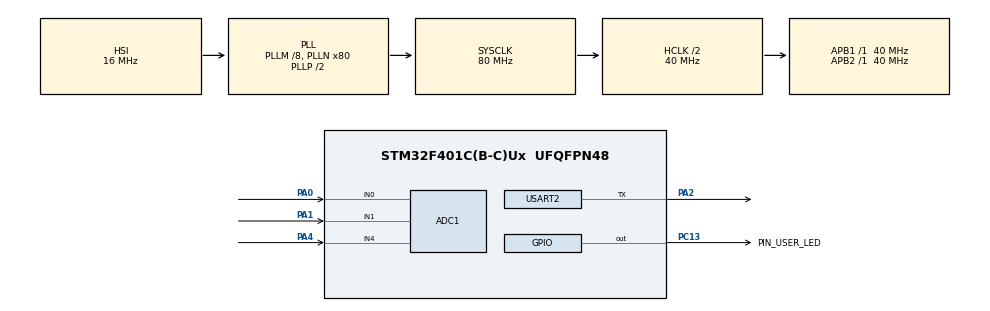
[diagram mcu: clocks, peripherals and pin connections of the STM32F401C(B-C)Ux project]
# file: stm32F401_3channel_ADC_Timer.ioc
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ADC1.Channel-0\#ChannelRegularConversion=ADC_CHANNEL_0
ADC1.Channel-1\#ChannelRegularConversion=ADC_CHANNEL_1
ADC1.Channel-2\#ChannelRegularConversion=ADC_CHANNEL_4
ADC1.Channel-3\#ChannelRegularConversion=ADC_CHANNEL_TEMPSENSOR
ADC1.Channel-4\#ChannelInjectedConversion=ADC_CHANNEL_0
ADC1.ClockPrescaler=ADC_CLOCK_SYNC_PCLK_DIV2
ADC1.ContinuousConvMode=DISABLE
ADC1.DMAContinuousRequests=DISABLE
ADC1.EOCSelection=ADC_EOC_SEQ_CONV
ADC1.ExternalTrigConv=ADC_EXTERNALTRIGCONV_T2_TRGO
ADC1.ExternalTrigConvEdge=ADC_EXTERNALTRIGCONVEDGE_RISING
ADC1.ExternalTrigInjecConv=ADC_EXTERNALTRIGINJECCONV_T2_TRGO
ADC1.InjNumberOfConversion=1
ADC1.InjectedConvMode=Discontinuous
ADC1.InjectedOffset-4\#ChannelInjectedConversion=0
ADC1.InjectedRank-4\#ChannelInjectedConversion=1
ADC1.NbrOfConversion=4
ADC1.NbrOfConversionFlag=1
ADC1.Rank-0\#ChannelRegularConversion=1
ADC1.Rank-1\#ChannelRegularConversion=2
ADC1.Rank-2\#ChannelRegularConversion=3
ADC1.Rank-3\#ChannelRegularConversion=4
ADC1.SamplingTime-0\#ChannelRegularConversion=ADC_SAMPLETIME_56CYCLES
ADC1.SamplingTime-1\#ChannelRegularConversion=ADC_SAMPLETIME_56CYCLES
ADC1.SamplingTime-2\#ChannelRegularConversion=ADC_SAMPLETIME_56CYCLES
ADC1.SamplingTime-3\#ChannelRegularConversion=ADC_SAMPLETIME_112CYCLES
ADC1.SamplingTime-4\#ChannelInjectedConversion=ADC_SAMPLETIME_144CYCLES
ADC1.master=1
Dma.ADC1.0.Direction=DMA_PERIPH_TO_MEMORY
Dma.ADC1.0.FIFOMode=DMA_FIFOMODE_DISABLE
Dma.ADC1.0.Instance=DMA2_Stream0
Dma.ADC1.0.MemDataAlignment=DMA_MDATAALIGN_HALFWORD
Dma.ADC1.0.MemInc=DMA_MINC_ENABLE
Dma.ADC1.0.Mode=DMA_NORMAL
Dma.ADC1.0.PeriphDataAlignment=DMA_PDATAALIGN_HALFWORD
Dma.ADC1.0.PeriphInc=DMA_PINC_DISABLE
Dma.ADC1.0.Priority=DMA_PRIORITY_LOW
Dma.Request0=ADC1
Mcu.Family=STM32F4
Mcu.Name=STM32F401C(B-C)Ux
Mcu.Package=UFQFPN48
NVIC.ADC_IRQn=true\:0\:0\:false\:false\:true\:true\:true\:true
NVIC.DMA2_Stream0_IRQn=true\:0\:0\:false\:false\:true\:false\:true\:true
NVIC.PriorityGroup=NVIC_PRIORITYGROUP_4
NVIC.TIM2_IRQn=true\:0\:0\:false\:false\:true\:true\:true\:true
PA0-WKUP.Signal=ADCx_IN0
PA1.Signal=ADCx_IN1
PA13.Mode=Serial_Wire
PA13.Signal=SYS_JTMS-SWDIO
PA14.Mode=Serial_Wire
PA14.Signal=SYS_JTCK-SWCLK
PA2.Mode=Half_duplex(single_wire_mode)
PA2.Signal=USART2_TX
PA4.Signal=ADCx_IN4
PC13-ANTI_TAMP.GPIO_Label=PIN_USER_LED
PC13-ANTI_TAMP.Signal=GPIO_Output
ProjectManager.HeapSize=0x200
ProjectManager.StackSize=0x400
ProjectManager.TargetToolchain=STM32CubeIDE
RCC.48MHZClocksFreq_Value=40000000
RCC.AHBCLKDivider=RCC_SYSCLK_DIV2
RCC.AHBFreq_Value=40000000
RCC.APB1Freq_Value=40000000
RCC.APB1TimFreq_Value=40000000
RCC.APB2Freq_Value=40000000
RCC.APB2TimFreq_Value=40000000
RCC.CortexFreq_Value=40000000
RCC.HCLKFreq_Value=40000000
RCC.HSE_VALUE=25000000
RCC.HSI_VALUE=16000000
RCC.LSE_VALUE=32768
RCC.PLLM=8
RCC.PLLN=80
RCC.SYSCLKFreq_VALUE=80000000
RCC.SYSCLKSource=RCC_SYSCLKSOURCE_PLLCLK
RCC.VCOOutputFreq_Value=160000000
SH.ADCx_IN0.0=ADC1_IN0,IN0
SH.ADCx_IN1.0=ADC1_IN1,IN1
SH.ADCx_IN4.0=ADC1_IN4,IN4
TIM2.AutoReloadPreload=TIM_AUTORELOAD_PRELOAD_DISABLE
TIM2.Channel-PWM\ Generation1\ No\ Output=TIM_CHANNEL_1
TIM2.Period=2999
TIM2.Prescaler=39999
TIM2.TIM_MasterOutputTrigger=TIM_TRGO_UPDATE
TIM2.TIM_MasterSlaveMode=TIM_MASTERSLAVEMODE_DISABLE
USART2.Mode=MODE_TX
USART2.Parity=PARITY_EVEN
USART2.VirtualMode=VM_ASYNC
VP_ADC1_TempSens_Input.Mode=IN-TempSens
VP_TIM2_VS_ClockSourceINT.Mode=Internal
VP_TIM2_VS_no_output1.Mode=PWM Generation1 No Output
board=custom

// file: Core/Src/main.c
/* USER CODE BEGIN Header */
/**
 ******************************************************************************
 * @file           : main.c
 * @brief          : Main program body
 ******************************************************************************
 * @attention
 *
 * Copyright (c) 2022 STMicroelectronics.
 * All rights reserved.
 *
 * This software is licensed under terms that can be found in the LICENSE file
 * in the root directory of this software component.
 * If no LICENSE file comes with this software, it is provided AS-IS.
 *
 ******************************************************************************
 */
/* USER CODE END Header */
#include "main.h"

/* USER CODE BEGIN Includes */
#include <stdio.h>
#include <string.h>
/* USER CODE END Includes */

ADC_HandleTypeDef hadc1;
DMA_HandleTypeDef hdma_adc1;

TIM_HandleTypeDef htim2;

UART_HandleTypeDef huart2;

void SystemClock_Config(void);
static void MX_GPIO_Init(void);
static void MX_DMA_Init(void);
static void MX_ADC1_Init(void);
static void MX_USART2_UART_Init(void);
static void MX_TIM2_Init(void);

/* USER CODE BEGIN 0 */
#ifdef __GNUC__
/* With GCC, small printf (option LD Linker->Libraries->Small printf
 set to 'Yes') calls __io_putchar() */
#define PUTCHAR_PROTOTYPE int __io_putchar(int ch)
#else
#define PUTCHAR_PROTOTYPE int fputc(int ch, FILE *f)
#endif /* __GNUC__ */

//must have this to print in uart com port
PUTCHAR_PROTOTYPE {
	// Place your implementation of fputc here
	// e.g. write a character to the EVAL_COM1 and Loop until the end of transmission
	HAL_UART_Transmit(&huart2, (uint8_t*) &ch, 1, 0xFFFF);

	return ch;
}

#define ADC_BUF_LEN 4
uint16_t adc_buf[ADC_BUF_LEN];

float adc_val_to_voltage(uint16_t adc_val) {
	float ADC_MAX = 4096.0;
	float Vref = 3.3f;
	float adc_voltage = Vref * 1.0f * adc_val / ADC_MAX;
	return adc_voltage;

}

// Callback: timer has rolled over
void HAL_TIM_PeriodElapsedCallback(TIM_HandleTypeDef *htim) {
	printf("zzz");
	HAL_GPIO_TogglePin(PIN_USER_LED_GPIO_Port, PIN_USER_LED_Pin);

	// Check which version of the timer triggered this callback and toggle LED
	if (htim == &htim2) {
		printf("tim2");

	} else {
		printf("other");
	}

}

/*
 void HAL_TIM_PeriodElapsedCallback(TIM_HandleTypeDef *htim) {
 static GPIO_PinState led_val = 0;

 HAL_GPIO_WritePin(PIN_USER_LED_GPIO_Port, PIN_USER_LED_Pin, led_val);
 led_val = !led_val;

 }
 */

float adc_val_to_temp_sys(uint16_t adc_val) {

	float Vref = 3300;
	int temp = __LL_ADC_CALC_TEMPERATURE(Vref, adc_val, LL_ADC_RESOLUTION_12B);
	return temp;

}

float adc_val_to_temp(uint16_t adc_val) {
	const float V25 = 0.76, AVG_Slope = 0.002f;

	float adc_vol = adc_val_to_voltage(adc_val);
	float temp = (adc_vol - V25) / AVG_Slope + 25;
	return temp;
}

void show_adc_buf() {

	uint16_t temp_adc_val = adc_buf[3];
	// float temp = adc_val_to_temp(temp_adc_val );
	float temp = adc_val_to_temp(temp_adc_val );
	printf(" adc value: %u %u %u  %u  , temp: %.1f\n\r", adc_buf[0], adc_buf[1],
			adc_buf[2], adc_buf[3], temp);
	HAL_GPIO_WritePin(PIN_USER_LED_GPIO_Port, PIN_USER_LED_Pin, GPIO_PIN_SET);

}

void HAL_ADC_ConvCpltCallback(ADC_HandleTypeDef *hadc) {
	HAL_GPIO_WritePin(GPIOC, PIN_USER_LED_Pin, GPIO_PIN_RESET);
	//printf("HAL_ADC_ConvCpltCallback ");

	uint32_t adc_val = HAL_ADC_GetValue(&hadc1);
	printf("HAL_ADC_ConvCpltCallback %u\n\r", adc_val);
	HAL_GPIO_WritePin(GPIOC, PIN_USER_LED_Pin, GPIO_PIN_SET);

	//show_adc_buf();
	//if (HAL_ADC_Stop_DMA(&hadc1) != HAL_OK) {
//	 Error_Handler();
//	 }

   /* if ( HAL_OK!=HAL_ADC_Stop_DMA(hadc) )
    {
    	Error_Handler();
    }
	//UNUSED(hadc);
*/
	//HAL_GPIO_TogglePin(PIN_USER_LED_GPIO_Port, PIN_USER_LED_Pin);
	//show_adc_buf();
	//printf("aa");

	//HAL_GPIO_WritePin(PIN_USER_LED_GPIO_Port, PIN_USER_LED_Pin, led_val);

}

void HAL_ADC_ConvHalfCpltCallback(ADC_HandleTypeDef *hadc) {
	//HAL_GPIO_WritePin(GPIOC, PIN_USER_LED_Pin, GPIO_PIN_RESET);
	//printf("HAL_ADC_ConvHalfCpltCallback adc PA  read  %hu\r\n",  adc_buf[0]);

}

/* USER CODE END 0 */

int main(void)
{
  /* USER CODE BEGIN 1 */
	memset(adc_buf, 0, ADC_BUF_LEN*sizeof(adc_buf[0]));

  /* USER CODE END 1 */

  /* MCU Configuration--------------------------------------------------------*/

  /* Reset of all peripherals, Initializes the Flash interface and the Systick. */
  HAL_Init();

  /* Configure the system clock */
  SystemClock_Config();

  /* Initialize all configured peripherals */
  MX_GPIO_Init();
  MX_DMA_Init();
  MX_ADC1_Init();
  MX_USART2_UART_Init();
  MX_TIM2_Init();

  /* Infinite loop */
  /* USER CODE BEGIN WHILE */

   // HAL_ADCEx_Calibration_Start(&hadc1);

	/*// must call this if timer calls ADC/DMA
	if ( HAL_OK != HAL_ADC_Start_DMA(&hadc1, (uint32_t*)adc_buf, ADC_BUF_LEN))
	{
		Error_Handler();
	}
*/

    // for adc call back to work
    HAL_ADC_Start_IT(&hadc1);

	if (HAL_TIM_Base_Start(&htim2) != HAL_OK) {
		Error_Handler();
	};

	//HAL_ADCEx_Calibration_Start (&hadc1) ;

	printf("about to while(1)\r\n");
	HAL_GPIO_WritePin(GPIOC, PIN_USER_LED_Pin, GPIO_PIN_SET);

	while (1) {
		int timer_val = __HAL_TIM_GET_COUNTER(&htim2);
		printf("timer is %u\n\r", timer_val);

		// can also use USB as virtual com port to print: CDC_Transmit_FS((uint8_t *) "Hello World CDC !\n", 13); //We add this line for serial comm
		//HAL_GPIO_WritePin(PIN_USER_LED_GPIO_Port, PIN_USER_LED_Pin, GPIO_PIN_RESET);
		//HAL_GPIO_TogglePin(PIN_USER_LED_GPIO_Port, PIN_USER_LED_Pin);

		//HAL_Delay(300);

		// HAL_GPIO_WritePin(PIN_USER_LED_GPIO_Port, PIN_USER_LED_Pin, GPIO_PIN_SET);

		HAL_Delay(1000);

    /* USER CODE END WHILE */

	}
}

void SystemClock_Config(void)
{
  RCC_OscInitTypeDef RCC_OscInitStruct = {0};
  RCC_ClkInitTypeDef RCC_ClkInitStruct = {0};

  /** Configure the main internal regulator output voltage
  */
  __HAL_RCC_PWR_CLK_ENABLE();
  __HAL_PWR_VOLTAGESCALING_CONFIG(PWR_REGULATOR_VOLTAGE_SCALE2);

  /** Initializes the RCC Oscillators according to the specified parameters
  * in the RCC_OscInitTypeDef structure.
  */
  RCC_OscInitStruct.OscillatorType = RCC_OSCILLATORTYPE_HSI;
  RCC_OscInitStruct.HSIState = RCC_HSI_ON;
  RCC_OscInitStruct.HSICalibrationValue = RCC_HSICALIBRATION_DEFAULT;
  RCC_OscInitStruct.PLL.PLLState = RCC_PLL_ON;
  RCC_OscInitStruct.PLL.PLLSource = RCC_PLLSOURCE_HSI;
  RCC_OscInitStruct.PLL.PLLM = 8;
  RCC_OscInitStruct.PLL.PLLN = 80;
  RCC_OscInitStruct.PLL.PLLP = RCC_PLLP_DIV2;
  RCC_OscInitStruct.PLL.PLLQ = 4;
  if (HAL_RCC_OscConfig(&RCC_OscInitStruct) != HAL_OK)
  {
    Error_Handler();
  }

  /** Initializes the CPU, AHB and APB buses clocks
  */
  RCC_ClkInitStruct.ClockType = RCC_CLOCKTYPE_HCLK|RCC_CLOCKTYPE_SYSCLK
                              |RCC_CLOCKTYPE_PCLK1|RCC_CLOCKTYPE_PCLK2;
  RCC_ClkInitStruct.SYSCLKSource = RCC_SYSCLKSOURCE_PLLCLK;
  RCC_ClkInitStruct.AHBCLKDivider = RCC_SYSCLK_DIV2;
  RCC_ClkInitStruct.APB1CLKDivider = RCC_HCLK_DIV1;
  RCC_ClkInitStruct.APB2CLKDivider = RCC_HCLK_DIV1;

  if (HAL_RCC_ClockConfig(&RCC_ClkInitStruct, FLASH_LATENCY_1) != HAL_OK)
  {
    Error_Handler();
  }
}

static void MX_ADC1_Init(void)
{

  ADC_ChannelConfTypeDef sConfig = {0};
  ADC_InjectionConfTypeDef sConfigInjected = {0};

  /** Configure the global features of the ADC (Clock, Resolution, Data Alignment and number of conversion)
  */
  hadc1.Instance = ADC1;
  hadc1.Init.ClockPrescaler = ADC_CLOCK_SYNC_PCLK_DIV2;
  hadc1.Init.Resolution = ADC_RESOLUTION_12B;
  hadc1.Init.ScanConvMode = ENABLE;
  hadc1.Init.ContinuousConvMode = DISABLE;
  hadc1.Init.DiscontinuousConvMode = DISABLE;
  hadc1.Init.ExternalTrigConvEdge = ADC_EXTERNALTRIGCONVEDGE_RISING;
  hadc1.Init.ExternalTrigConv = ADC_EXTERNALTRIGCONV_T2_TRGO;
  hadc1.Init.DataAlign = ADC_DATAALIGN_RIGHT;
  hadc1.Init.NbrOfConversion = 4;
  hadc1.Init.DMAContinuousRequests = DISABLE;
  hadc1.Init.EOCSelection = ADC_EOC_SEQ_CONV;
  if (HAL_ADC_Init(&hadc1) != HAL_OK)
  {
    Error_Handler();
  }

  /** Configure for the selected ADC regular channel its corresponding rank in the sequencer and its sample time.
  */
  sConfig.Channel = ADC_CHANNEL_0;
  sConfig.Rank = 1;
  sConfig.SamplingTime = ADC_SAMPLETIME_56CYCLES;
  if (HAL_ADC_ConfigChannel(&hadc1, &sConfig) != HAL_OK)
  {
    Error_Handler();
  }

  /** Configure for the selected ADC regular channel its corresponding rank in the sequencer and its sample time.
  */
  sConfig.Channel = ADC_CHANNEL_1;
  sConfig.Rank = 2;
  if (HAL_ADC_ConfigChannel(&hadc1, &sConfig) != HAL_OK)
  {
    Error_Handler();
  }

  /** Configure for the selected ADC regular channel its corresponding rank in the sequencer and its sample time.
  */
  sConfig.Channel = ADC_CHANNEL_4;
  sConfig.Rank = 3;
  if (HAL_ADC_ConfigChannel(&hadc1, &sConfig) != HAL_OK)
  {
    Error_Handler();
  }

  /** Configure for the selected ADC regular channel its corresponding rank in the sequencer and its sample time.
  */
  sConfig.Channel = ADC_CHANNEL_TEMPSENSOR;
  sConfig.Rank = 4;
  sConfig.SamplingTime = ADC_SAMPLETIME_112CYCLES;
  if (HAL_ADC_ConfigChannel(&hadc1, &sConfig) != HAL_OK)
  {
    Error_Handler();
  }

  /** Configures for the selected ADC injected channel its corresponding rank in the sequencer and its sample time
  */
  sConfigInjected.InjectedChannel = ADC_CHANNEL_0;
  sConfigInjected.InjectedRank = 1;
  sConfigInjected.InjectedNbrOfConversion = 1;
  sConfigInjected.InjectedSamplingTime = ADC_SAMPLETIME_144CYCLES;
  sConfigInjected.ExternalTrigInjecConvEdge = ADC_EXTERNALTRIGINJECCONVEDGE_RISING;
  sConfigInjected.ExternalTrigInjecConv = ADC_EXTERNALTRIGINJECCONV_T2_TRGO;
  sConfigInjected.AutoInjectedConv = DISABLE;
  sConfigInjected.InjectedDiscontinuousConvMode = ENABLE;
  sConfigInjected.InjectedOffset = 0;
  if (HAL_ADCEx_InjectedConfigChannel(&hadc1, &sConfigInjected) != HAL_OK)
  {
    Error_Handler();
  }

}

static void MX_TIM2_Init(void)
{

  TIM_ClockConfigTypeDef sClockSourceConfig = {0};
  TIM_MasterConfigTypeDef sMasterConfig = {0};
  TIM_OC_InitTypeDef sConfigOC = {0};

  htim2.Instance = TIM2;
  htim2.Init.Prescaler = 39999;
  htim2.Init.CounterMode = TIM_COUNTERMODE_UP;
  htim2.Init.Period = 2999;
  htim2.Init.ClockDivision = TIM_CLOCKDIVISION_DIV1;
  htim2.Init.AutoReloadPreload = TIM_AUTORELOAD_PRELOAD_DISABLE;
  if (HAL_TIM_Base_Init(&htim2) != HAL_OK)
  {
    Error_Handler();
  }
  sClockSourceConfig.ClockSource = TIM_CLOCKSOURCE_INTERNAL;
  if (HAL_TIM_ConfigClockSource(&htim2, &sClockSourceConfig) != HAL_OK)
  {
    Error_Handler();
  }
  if (HAL_TIM_PWM_Init(&htim2) != HAL_OK)
  {
    Error_Handler();
  }
  sMasterConfig.MasterOutputTrigger = TIM_TRGO_UPDATE;
  sMasterConfig.MasterSlaveMode = TIM_MASTERSLAVEMODE_DISABLE;
  if (HAL_TIMEx_MasterConfigSynchronization(&htim2, &sMasterConfig) != HAL_OK)
  {
    Error_Handler();
  }
  sConfigOC.OCMode = TIM_OCMODE_PWM1;
  sConfigOC.Pulse = 0;
  sConfigOC.OCPolarity = TIM_OCPOLARITY_HIGH;
  sConfigOC.OCFastMode = TIM_OCFAST_DISABLE;
  if (HAL_TIM_PWM_ConfigChannel(&htim2, &sConfigOC, TIM_CHANNEL_1) != HAL_OK)
  {
    Error_Handler();
  }

}

static void MX_USART2_UART_Init(void)
{

  huart2.Instance = USART2;
  huart2.Init.BaudRate = 115200;
  huart2.Init.WordLength = UART_WORDLENGTH_8B;
  huart2.Init.StopBits = UART_STOPBITS_1;
  huart2.Init.Parity = UART_PARITY_EVEN;
  huart2.Init.Mode = UART_MODE_TX;
  huart2.Init.HwFlowCtl = UART_HWCONTROL_NONE;
  huart2.Init.OverSampling = UART_OVERSAMPLING_16;
  if (HAL_HalfDuplex_Init(&huart2) != HAL_OK)
  {
    Error_Handler();
  }

}

static void MX_DMA_Init(void)
{

  /* DMA controller clock enable */
  __HAL_RCC_DMA2_CLK_ENABLE();

  /* DMA interrupt init */
  /* DMA2_Stream0_IRQn interrupt configuration */
  HAL_NVIC_SetPriority(DMA2_Stream0_IRQn, 0, 0);
  HAL_NVIC_EnableIRQ(DMA2_Stream0_IRQn);

}

static void MX_GPIO_Init(void)
{
  GPIO_InitTypeDef GPIO_InitStruct = {0};

  /* GPIO Ports Clock Enable */
  __HAL_RCC_GPIOC_CLK_ENABLE();
  __HAL_RCC_GPIOA_CLK_ENABLE();

  /*Configure GPIO pin Output Level */
  HAL_GPIO_WritePin(PIN_USER_LED_GPIO_Port, PIN_USER_LED_Pin, GPIO_PIN_RESET);

  /*Configure GPIO pin : PIN_USER_LED_Pin */
  GPIO_InitStruct.Pin = PIN_USER_LED_Pin;
  GPIO_InitStruct.Mode = GPIO_MODE_OUTPUT_PP;
  GPIO_InitStruct.Pull = GPIO_NOPULL;
  GPIO_InitStruct.Speed = GPIO_SPEED_FREQ_LOW;
  HAL_GPIO_Init(PIN_USER_LED_GPIO_Port, &GPIO_InitStruct);

}

void Error_Handler(void)
{
  /* USER CODE BEGIN Error_Handler_Debug */
	/* User can add his own implementation to report the HAL error return state */
	printf("error_handler()!!");
	__disable_irq();
	while (1) {
	}
  /* USER CODE END Error_Handler_Debug */
}
